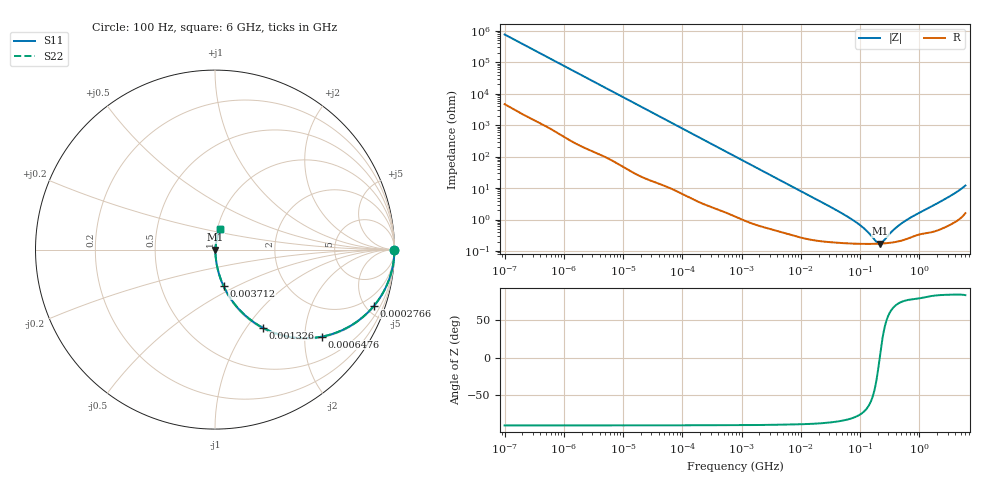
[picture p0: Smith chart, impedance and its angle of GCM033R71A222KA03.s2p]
!Murata Part Number: GCM033R71A222KA03
!These Parameters are Measured in Series Mode Connection
!  o--ll--o
!Port1  Port2
!  o------o
!Operation Temp=25[degC], DC Bias Voltage=0[V]
!Freq. Start=100[Hz] Stop=6[GHz], 401[Steps]
!Data Generated on Nov 6, 2018
# Hz S RI R 50
!Freq.(Hz) S11(Real) S11(Imag) S21(Real) S21(Imag) S12(Real) S12(Imag) S22(Real) S22(Imag)
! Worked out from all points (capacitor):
!   401 points, 100 Hz to 6 GHz, reference 50 ohm
!   read as one part in series: C = 2.09 nF near 109.4 Hz
!   lowest |Z| = 172 mohm at 218.4 MHz (marker M1)
!   series resonance near 214.9 MHz, so ESL is about 260 pH
!   S11 on the Smith chart (normalised r, x): 100 Hz: open; 276.6 kHz: 1.05, -5.66; 647.6 kHz: 1.03, -2.43; 1.326 MHz: 1.02, -1.19; 3.712 MHz: 1.01, -0.43; 6 GHz: 1.03, +0.24
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100  1 -0.000132  8.2e-07 0.000132  8.2e-07 0.000132  1 -0.000132
2008.354  1 -0.00262  2.11e-05 0.00262  2.11e-05 0.00262  1 -0.00262
40334.87  0.9969 -0.0518  0.00306 0.0518  0.00306 0.0518  0.9969 -0.0518
112959.9  0.9783 -0.1415  0.0217 0.1415  0.0217 0.1415  0.9783 -0.1415
276587.1  0.8869 -0.3121  0.1131 0.3121  0.1131 0.3121  0.8869 -0.3121
413847.5  0.7802 -0.4088  0.2198 0.4088  0.2198 0.4088  0.7802 -0.4088
647581  0.5956 -0.4849  0.4044 0.4849  0.4044 0.4849  0.5956 -0.4849
774596.7  0.509 -0.4938  0.491 0.4938  0.491 0.4938  0.509 -0.4938
1325623  0.2657 -0.4349  0.7343 0.4349  0.7343 0.4349  0.2657 -0.4349
2169299  0.1221 -0.3194  0.8779 0.3194  0.8779 0.3194  0.1221 -0.3194
3712478  0.048 -0.2035  0.952 0.2035  0.952 0.2035  0.048 -0.2035
1.555665e7  0.00488 -0.0514  0.9951 0.0514  0.9951 0.0514  0.00488 -0.0514
8.154455e7  0.00178 -0.00857  0.9982 0.00857  0.9982 0.00857  0.00178 -0.00857
1.220122e8  0.00169 -0.00454  0.9983 0.00454  0.9983 0.00454  0.00169 -0.00454
1.909225e8  0.00169 -0.000902  0.9983 0.000902  0.9983 0.000902  0.00169 -0.000902
2.183701e8  0.00171 0.000123  0.9983 -0.000123  0.9983 -0.000123  0.00171 0.000123
2.497637e8  0.00174 0.00115  0.9983 -0.00115  0.9983 -0.00115  0.00174 0.00115
3.124326e8  0.00181 0.00291  0.9982 -0.00291  0.9982 -0.00291  0.00181 0.00291
4.274388e8  0.00202 0.00563  0.998 -0.00563  0.998 -0.00563  0.00202 0.00563
6.11557e8  0.00248 0.00933  0.9975 -0.00933  0.9975 -0.00933  0.00248 0.00933
3.065283e9  0.00876 0.0498  0.9912 -0.0498  0.9912 -0.0498  0.00876 0.0498
6e9  0.029 0.1138  0.971 -0.1138  0.971 -0.1138  0.029 0.1138
